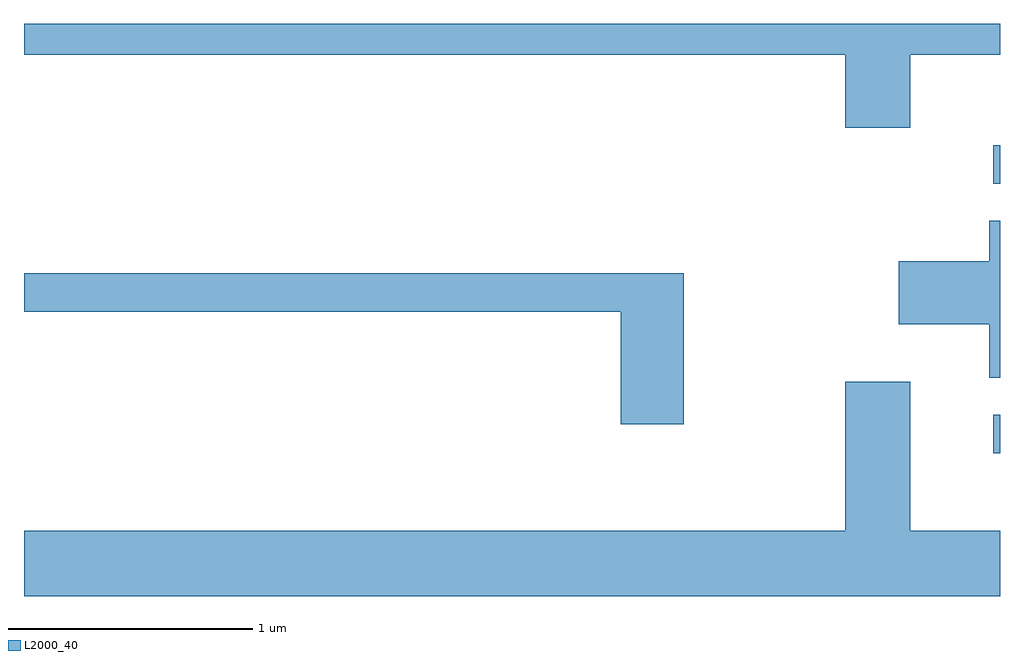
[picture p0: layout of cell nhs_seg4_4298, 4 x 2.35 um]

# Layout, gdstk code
import gdstk
lib = gdstk.Library(unit=1e-6, precision=1e-09)
def R(c, l, rs):  # rectangles x0, y0, x1, y1
    for r in rs: c.add(gdstk.rectangle(r[:2], r[2:], *l))
def P(c, l, *ps):  # polygons
    for p in ps: c.add(gdstk.Polygon(p, *l))
L2000_40 = (2000, 40)

nhs_seg4_4298 = lib.new_cell('nhs_seg4_4298')
R(nhs_seg4_4298, L2000_40, [(315.583,1284.221,315.611,1284.379), (315.583,1285.326,315.611,1285.484)])
P(nhs_seg4_4298, L2000_40, [(315.244,1285.856),(315.611,1285.856),(315.611,1285.982),(311.611,1285.982),(311.611,1285.856),(314.976,1285.856),(314.976,1285.556),(315.244,1285.556)],
  [(315.611,1285.174),(315.566,1285.174),(315.566,1285.009),(315.196,1285.009),(315.196,1284.751),(315.566,1284.751),(315.566,1284.531),(315.611,1284.531)],
  [(314.314,1284.959),(311.611,1284.959),(311.611,1284.801),(314.056,1284.801),(314.056,1284.341),(314.314,1284.341)],
  [(315.611,1283.904),(315.244,1283.904),(315.244,1284.514),(314.976,1284.514),(314.976,1283.904),(311.611,1283.904),(311.611,1283.636),(315.611,1283.636)])

lib.write_gds('nhs_seg4_4298.gds')
